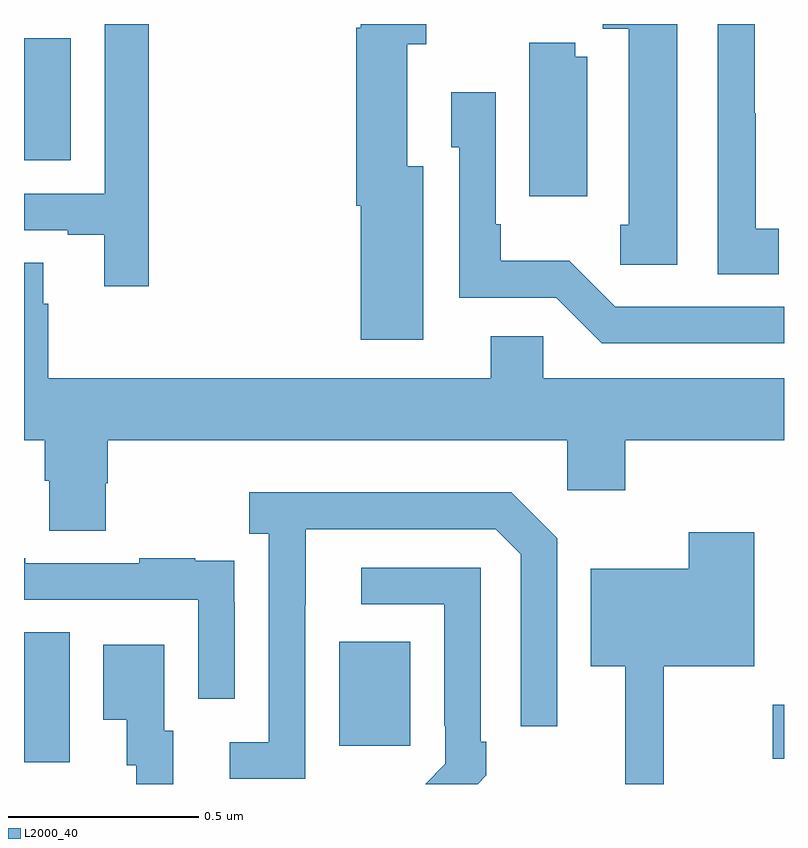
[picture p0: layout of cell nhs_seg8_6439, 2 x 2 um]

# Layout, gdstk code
import gdstk
lib = gdstk.Library(unit=1e-6, precision=1e-09)
def R(c, l, rs):  # rectangles x0, y0, x1, y1
    for r in rs: c.add(gdstk.rectangle(r[:2], r[2:], *l))
def P(c, l, *ps):  # polygons
    for p in ps: c.add(gdstk.Polygon(p, *l))
L2000_40 = (2000, 40)

nhs_seg8_6439 = lib.new_cell('nhs_seg8_6439')
R(nhs_seg8_6439, L2000_40, [(196,1144.957,196.12,1145.3), (197.97,1144.966,198,1145.108), (196.829,1145.001,197.017,1145.275), (196,1146.542,196.123,1146.862)])
P(nhs_seg8_6439, L2000_40, [(197.719,1146.9),(197.523,1146.9),(197.523,1146.888),(197.591,1146.888),(197.591,1146.372),(197.569,1146.372),(197.569,1146.267),(197.719,1146.267)],
  [(197.05,1146.526),(197.008,1146.526),(197.008,1146.847),(197.059,1146.847),(197.059,1146.9),(196.886,1146.9),(196.886,1146.89),(196.874,1146.89),(196.874,1146.422),(196.886,1146.422),(196.886,1146.069),(197.05,1146.069)],
  [(196.328,1146.9),(196.212,1146.9),(196.212,1146.453),(196,1146.453),(196,1146.357),(196.115,1146.357),(196.115,1146.345),(196.211,1146.345),(196.211,1146.21),(196.328,1146.21)],
  [(197.986,1146.361),(197.925,1146.361),(197.925,1146.665),(197.923,1146.665),(197.923,1146.9),(197.826,1146.9),(197.826,1146.241),(197.986,1146.241)],
  [(197.482,1146.814),(197.45,1146.814),(197.45,1146.851),(197.33,1146.851),(197.33,1146.447),(197.482,1146.447)],
  [(198,1146.156),(197.556,1146.156),(197.435,1146.277),(197.254,1146.277),(197.254,1146.373),(197.241,1146.373),(197.241,1146.721),(197.124,1146.721),(197.124,1146.576),(197.145,1146.576),(197.145,1146.18),(197.4,1146.18),(197.52,1146.06),(198,1146.06)],
  [(196.215,1145.691),(196.22,1145.691),(196.22,1145.804),(197.43,1145.804),(197.43,1145.673),(197.582,1145.673),(197.582,1145.804),(198,1145.804),(198,1145.968),(197.367,1145.968),(197.367,1146.078),(197.228,1146.078),(197.228,1145.968),(196.064,1145.968),(196.064,1146.164),(196.051,1146.164),(196.051,1146.272),(196,1146.272),(196,1145.804),(196.055,1145.804),(196.055,1145.698),(196.067,1145.698),(196.067,1145.566),(196.215,1145.566)],
  [(196.74,1145.371),(196.741,1145.371),(196.741,1145.571),(197.241,1145.571),(197.307,1145.505),(197.307,1145.052),(197.403,1145.052),(197.403,1145.547),(197.282,1145.668),(196.593,1145.668),(196.593,1145.558),(196.644,1145.558),(196.644,1145.01),(196.542,1145.01),(196.542,1144.914),(196.74,1144.914)],
  [(197.684,1145.21),(197.922,1145.21),(197.922,1145.563),(197.749,1145.563),(197.749,1145.467),(197.492,1145.467),(197.492,1145.21),(197.582,1145.21),(197.582,1144.9),(197.684,1144.9)],
  [(196.554,1145.378),(196.553,1145.378),(196.553,1145.487),(196.451,1145.487),(196.451,1145.494),(196.303,1145.494),(196.303,1145.481),(196.003,1145.481),(196.003,1145.494),(196,1145.494),(196,1145.385),(196.458,1145.385),(196.458,1145.124),(196.554,1145.124)],
  [(197.217,1144.923),(197.217,1145.011),(197.202,1145.011),(197.202,1145.469),(196.887,1145.469),(196.887,1145.373),(197.106,1145.373),(197.106,1145.053),(197.109,1145.053),(197.109,1144.953),(197.056,1144.9),(197.194,1144.9)],
  [(196.393,1145.04),(196.369,1145.04),(196.369,1145.266),(196.208,1145.266),(196.208,1145.069),(196.271,1145.069),(196.271,1144.95),(196.296,1144.95),(196.296,1144.9),(196.393,1144.9)])

lib.write_gds('nhs_seg8_6439.gds')
